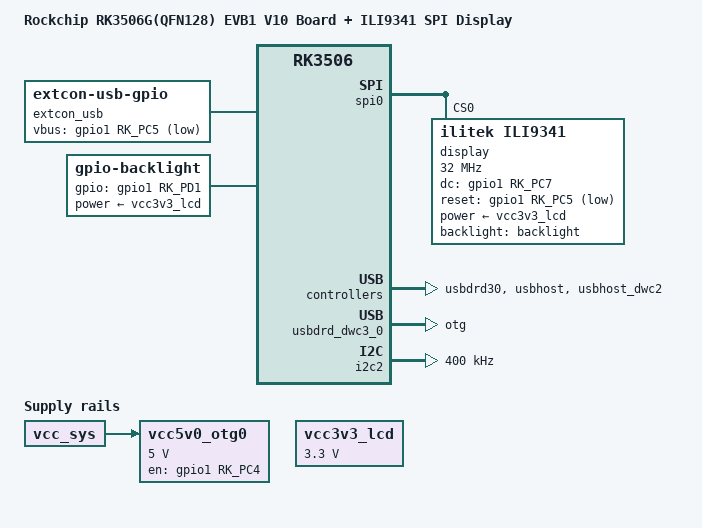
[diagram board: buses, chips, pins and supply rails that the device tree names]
// SPDX-License-Identifier: (GPL-2.0+ OR MIT)
/*
 * Copyright (c) 2024 Rockchip Electronics Co., Ltd.
 * SPI Display Configuration for RK3506G EVB
 * Display: ILI9341 controller, 320x240 resolution, 2.8 inch
 */

/dts-v1/;

#include "rk3506.dtsi"
#include "rk3506-evb1-v10.dtsi"

/ {
	model = "Rockchip RK3506G(QFN128) EVB1 V10 Board + ILI9341 SPI Display";
	compatible = "rockchip,rk3506g-evb1-v10-spi", "rockchip,rk3506";

	chosen {
		bootargs = "earlycon=uart8250,mmio32,0xff0a0000,115200 console=ttyFIQ0,115200 storagemedia=sd root=/dev/mmcblk0p3 rootfstype=ext4 rw rootwait";
	};

	extcon_usb: extcon-usb {
		compatible = "linux,extcon-usb-gpio";
		vbus-gpio = <&gpio1 RK_PC5 GPIO_ACTIVE_LOW>;
		pinctrl-names = "default";
		pinctrl-0 = <&usb_extcon_vbus>;
		status = "okay";
	};

	vcc5v0_otg0: vcc5v0-otg0-regulator {
		compatible = "regulator-fixed";
		regulator-name = "vcc5v0_otg0";
		regulator-min-microvolt = <5000000>;
		regulator-max-microvolt = <5000000>;
		enable-active-high;
		gpio = <&gpio1 RK_PC4 GPIO_ACTIVE_HIGH>;
		vin-supply = <&vcc_sys>;
		regulator-state-mem {
			regulator-off-in-suspend;
		};
	};

	/* SPI Display Power Supply */
	vcc3v3_lcd: vcc3v3-lcd {
		compatible = "regulator-fixed";
		regulator-name = "vcc3v3_lcd";
		regulator-boot-on;
		regulator-always-on;
		regulator-min-microvolt = <3300000>;
		regulator-max-microvolt = <3300000>;
		status = "okay";
	};

	/* Backlight for SPI Display - GPIO controlled */
	backlight: backlight {
		compatible = "gpio-backlight";
		gpios = <&gpio1 RK_PD1 GPIO_ACTIVE_HIGH>;
		power-supply = <&vcc3v3_lcd>;
		default-on;
		status = "okay";
	};
};

&cma {
	size = <0x1600000>;
};

/* Enable SPI0 Controller */
&spi0 {
	status = "okay";
	pinctrl-names = "default";
	pinctrl-0 = <&spi0m0_pins>;
	max-freq = <48000000>;

	/* ILI9341 SPI Display */
	display@0 {
		compatible = "ilitek,ili9341";
		reg = <0>;
		
		/* SPI Configuration */
		spi-max-frequency = <32000000>;  /* 32MHz SPI clock for ILI9341 */
		
		/* GPIO Configuration */
		/* D/C (Data/Command) pin - GPIO1_C7 */
		dc-gpios = <&gpio1 RK_PC7 GPIO_ACTIVE_HIGH>;
		
		/* RESET pin - GPIO1_C5 */
		reset-gpios = <&gpio1 RK_PC5 GPIO_ACTIVE_LOW>;
		
		/* Backlight */
		backlight = <&backlight>;
		
		/* Power supply */
		power-supply = <&vcc3v3_lcd>;
		
		/* Display properties (2.8 inch, 320x240) */
		width-mm = <43>;   /* Physical width in mm */
		height-mm = <57>;  /* Physical height in mm */
		
		/* Panel timing (320x240 resolution) */
		panel-timing {
			hactive = <320>;
			vactive = <240>;
			hback-porch = <0>;
			hfront-porch = <0>;
			vback-porch = <0>;
			vfront-porch = <0>;
			hsync-len = <0>;
			vsync-len = <0>;
			hsync-active = <0>;
			vsync-active = <0>;
			de-active = <0>;
			pixelclk-active = <0>;
		};
		
		/* Display rotation (0, 90, 180, 270) */
		rotation = <0>;
		
		/* RGB format */
		format = <0x66>; /* RGB666 */
		
		status = "okay";
	};
};

/* USB OTG Configuration */
&u2phy_otg0 {
	rockchip,vbus-always-on;
};

&usbdrd30 {
	status = "okay";
};

&usbdrd_dwc3_0 {
	status = "okay";
	dr_mode = "otg";
	extcon = <&extcon_usb>;
};

&usbhost {
	status = "okay";
};

&usbhost_dwc2 {
	status = "okay";
};

/* I2C for touch controller or other peripherals (optional) */
&i2c2 {
	status = "okay";
	clock-frequency = <400000>;
};

/* Pin Control */
&pinctrl {
	usb {
		usb_extcon_vbus: usb-extcon-vbus {
			rockchip,pins = <1 RK_PC5 RK_FUNC_GPIO &pcfg_pull_none>;
		};
	};
	
	/* SPI display GPIOs */
	spi_display {
		/* D/C pin - GPIO1_C7 */
		spi_display_dc: spi-display-dc {
			rockchip,pins = <1 RK_PC7 RK_FUNC_GPIO &pcfg_pull_none>;
		};
		
		/* RESET pin - GPIO1_C5 */
		spi_display_rst: spi-display-rst {
			rockchip,pins = <1 RK_PC5 RK_FUNC_GPIO &pcfg_pull_up>;
		};
		
		/* LED Backlight - GPIO1_D1 */
		spi_display_led: spi-display-led {
			rockchip,pins = <1 RK_PD1 RK_FUNC_GPIO &pcfg_pull_none>;
		};
	};
};

